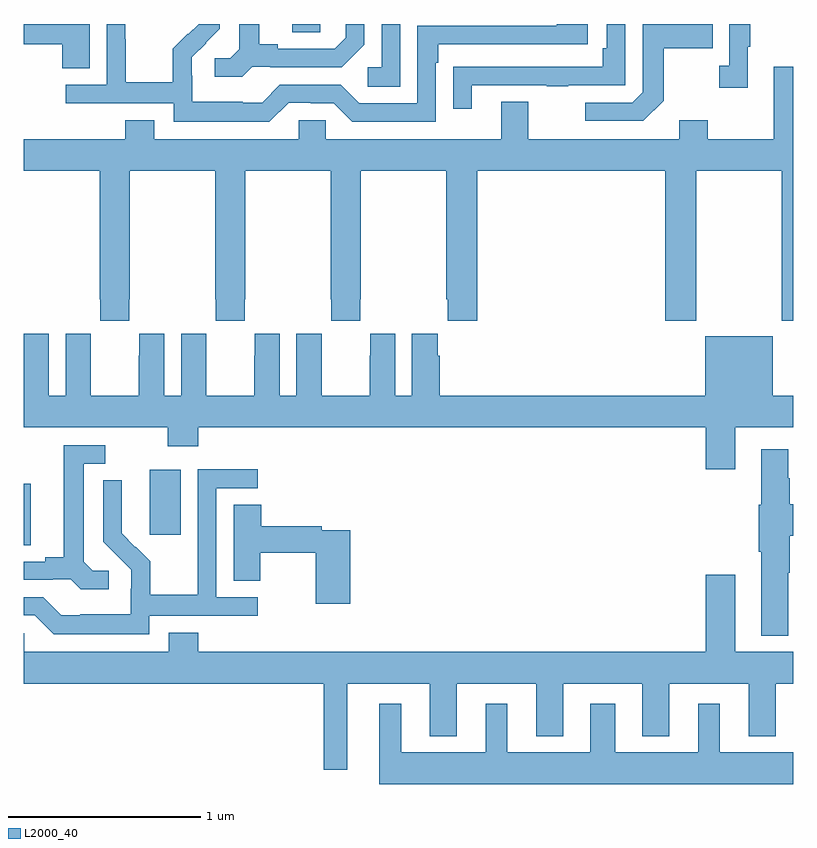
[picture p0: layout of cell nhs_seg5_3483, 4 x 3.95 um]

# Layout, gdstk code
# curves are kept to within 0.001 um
import gdstk
lib = gdstk.Library(unit=1e-6, precision=1e-09)
def R(c, l, rs):  # rectangles x0, y0, x1, y1
    for r in rs: c.add(gdstk.rectangle(r[:2], r[2:], *l))
def P(c, l, *ps):  # polygons
    for p in ps: c.add(gdstk.Polygon(p, *l))
L2000_40 = (2000, 40)

nhs_seg5_3483 = lib.new_cell('nhs_seg5_3483')
R(nhs_seg5_3483, L2000_40, [(315,912.091,315.037,912.411), (315.656,912.144,315.817,912.484), (316.397,914.755,316.542,914.799)])
P(nhs_seg5_3483, L2000_40, [(316.188,914.577),(316.282,914.577),(316.282,914.574),(316.654,914.574),(316.77,914.69),(316.77,914.799),(316.673,914.799),(316.673,914.727),(316.616,914.67),(316.321,914.67),(316.321,914.693),(316.225,914.693),(316.225,914.799),(316.121,914.799),(316.121,914.669),(316.074,914.622),(315.993,914.622),(315.993,914.525),(316.136,914.525)],
  [(317.329,914.481),(317.719,914.481),(317.719,914.476),(317.831,914.476),(317.831,914.481),(318.126,914.481),(318.126,914.799),(318.03,914.799),(318.03,914.674),(318.01,914.674),(318.01,914.577),(317.335,914.577),(317.335,914.576),(317.233,914.576),(317.233,914.358),(317.329,914.358)],
  [(316.377,914.391),(316.493,914.391),(316.493,914.388),(316.611,914.388),(316.707,914.292),(317.142,914.292),(317.142,914.597),(317.155,914.597),(317.155,914.694),(317.932,914.694),(317.932,914.799),(317.771,914.799),(317.771,914.79),(317.046,914.79),(317.046,914.388),(316.743,914.388),(316.647,914.484),(316.332,914.484),(316.239,914.391),(316.139,914.391),(316.139,914.395),(315.876,914.395),(315.876,914.529),(315.874,914.529),(315.874,914.626),(316.02,914.774),(316.02,914.799),(315.909,914.799),(315.855,914.745),(315.852,914.748),(315.775,914.671),(315.775,914.497),(315.531,914.497),(315.531,914.72),(315.528,914.72),(315.528,914.799),(315.432,914.799),(315.432,914.484),(315.219,914.484),(315.219,914.388),(315.78,914.388),(315.78,914.291),(316.277,914.291)],
  [(318.763,914.681),(318.775,914.681),(318.775,914.799),(318.666,914.799),(318.666,914.582),(318.615,914.582),(318.615,914.469),(318.763,914.469)],
  [(316.956,914.799),(316.86,914.799),(316.86,914.574),(316.788,914.574),(316.788,914.473),(316.956,914.473)],
  [(315.343,914.799),(315,914.799),(315,914.693),(315.2,914.693),(315.2,914.569),(315.343,914.569)],
  [(318.325,914.401),(318.325,914.674),(318.581,914.674),(318.581,914.799),(318.216,914.799),(318.216,914.445),(318.162,914.391),(317.919,914.391),(317.919,914.295),(318.219,914.295)],
  [(315.549,913.369),(315.552,913.369),(315.552,914.036),(315.997,914.036),(315.997,913.369),(315.999,913.369),(315.999,913.257),(316.149,913.257),(316.149,913.369),(316.152,913.369),(316.152,914.036),(316.597,914.036),(316.597,913.369),(316.599,913.369),(316.599,913.257),(316.749,913.257),(316.749,913.369),(316.752,913.369),(316.752,914.036),(317.197,914.036),(317.197,913.369),(317.203,913.369),(317.203,913.257),(317.357,913.257),(317.357,914.036),(318.335,914.036),(318.335,913.257),(318.495,913.257),(318.495,914.036),(318.94,914.036),(318.94,913.257),(319,913.257),(319,914.578),(318.899,914.578),(318.899,914.2),(318.555,914.2),(318.555,914.299),(318.407,914.299),(318.407,914.2),(317.623,914.2),(317.623,914.395),(317.483,914.395),(317.483,914.2),(316.569,914.2),(316.569,914.298),(316.431,914.298),(316.431,914.2),(315.679,914.2),(315.679,914.299),(315.527,914.299),(315.527,914.2),(315,914.2),(315,914.036),(315.397,914.036),(315.397,913.369),(315.399,913.369),(315.399,913.257),(315.549,913.257)],
  [(318.697,912.704),(319,912.704),(319,912.868),(318.892,912.868),(318.892,913.177),(318.542,913.177),(318.542,912.868),(317.162,912.868),(317.162,913.076),(317.152,913.076),(317.152,913.189),(317.018,913.189),(317.018,912.868),(316.93,912.868),(316.93,913.189),(316.8,913.189),(316.8,913.076),(316.799,913.076),(316.799,912.868),(316.549,912.868),(316.549,913.076),(316.548,913.076),(316.548,913.189),(316.418,913.189),(316.418,912.868),(316.33,912.868),(316.33,913.189),(316.2,913.189),(316.2,913.076),(316.199,913.076),(316.199,912.868),(315.949,912.868),(315.949,913.076),(315.948,913.076),(315.948,913.189),(315.818,913.189),(315.818,912.868),(315.73,912.868),(315.73,913.189),(315.6,913.189),(315.6,913.076),(315.599,913.076),(315.599,912.868),(315.349,912.868),(315.349,913.076),(315.348,913.076),(315.348,913.189),(315.218,913.189),(315.218,912.868),(315.13,912.868),(315.13,913.189),(315,913.189),(315,912.704),(315.748,912.704),(315.748,912.605),(315.908,912.605),(315.908,912.704),(318.545,912.704),(318.545,912.486),(318.697,912.486)],
  [(315.442,911.958),(315.36,911.958),(315.313,912.005),(315.313,912.513),(315.424,912.513),(315.424,912.609),(315.209,912.609),(315.209,912.029),(315.113,912.029),(315.113,912.006),(315,912.006),(315,911.91),(315.152,911.91),(315.152,911.913),(315.246,911.913),(315.298,911.861),(315.442,911.861)],
  [(318.973,911.947),(318.981,911.947),(318.981,912.14),(319,912.14),(319,912.304),(318.981,912.304),(318.981,912.438),(318.973,912.438),(318.973,912.589),(318.833,912.589),(318.833,912.3),(318.821,912.3),(318.821,912.056),(318.833,912.056),(318.833,911.621),(318.973,911.621)],
  [(315.654,911.724),(316.216,911.724),(316.216,911.82),(316.002,911.82),(316.002,912.387),(316.216,912.387),(316.216,912.486),(315.906,912.486),(315.906,912.056),(315.904,912.056),(315.904,911.833),(315.659,911.833),(315.659,912.007),(315.582,912.084),(315.579,912.081),(315.509,912.152),(315.509,912.256),(315.511,912.256),(315.511,912.428),(315.414,912.428),(315.414,912.11),(315.56,911.962),(315.56,911.865),(315.558,911.865),(315.558,911.731),(315.295,911.731),(315.295,911.727),(315.195,911.727),(315.102,911.82),(315,911.82),(315,911.727),(315.057,911.727),(315.157,911.627),(315.654,911.627)],
  [(316.697,912.168),(316.55,912.168),(316.55,912.188),(316.235,912.188),(316.235,912.302),(316.091,912.302),(316.091,911.905),(316.23,911.905),(316.23,912.052),(316.519,912.052),(316.519,911.787),(316.697,911.787)],
  [(316.681,911.372),(317.111,911.372),(317.111,911.099),(317.251,911.099),(317.251,911.372),(317.663,911.372),(317.663,911.099),(317.803,911.099),(317.803,911.372),(318.215,911.372),(318.215,911.099),(318.355,911.099),(318.355,911.372),(318.767,911.372),(318.767,911.099),(318.907,911.099),(318.907,911.372),(319,911.372),(319,911.536),(318.697,911.536),(318.697,911.938),(318.545,911.938),(318.545,911.536),(315.908,911.536),(315.908,911.635),(315.755,911.635),(315.755,911.536),(315.003,911.536),(315.003,911.634),(315,911.634),(315,911.372),(316.56,911.372),(316.56,910.923),(316.681,910.923)],
  [(319,911.014),(318.616,911.014),(318.616,911.266),(318.506,911.266),(318.506,911.014),(318.073,911.014),(318.073,911.266),(317.945,911.266),(317.945,911.014),(317.512,911.014),(317.512,911.266),(317.402,911.266),(317.402,911.014),(316.963,911.014),(316.963,911.266),(316.847,911.266),(316.847,910.85),(319,910.85)])

lib.write_gds('nhs_seg5_3483.gds')
